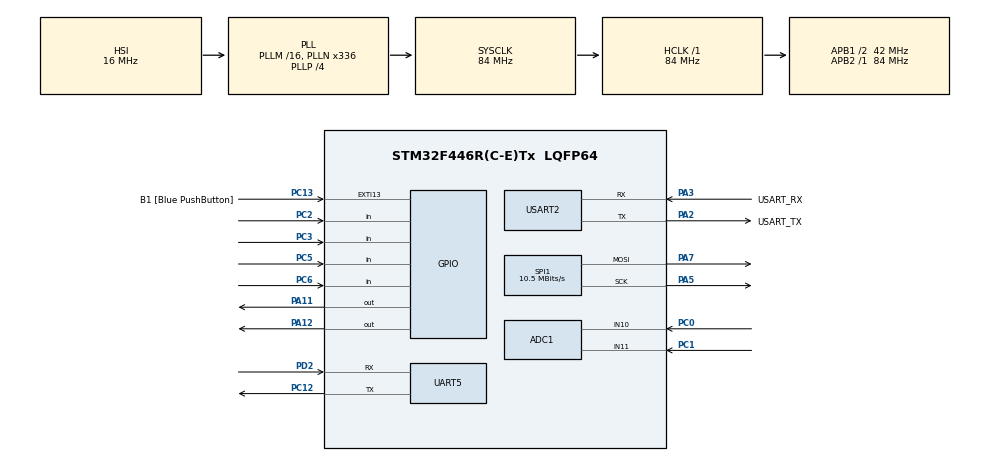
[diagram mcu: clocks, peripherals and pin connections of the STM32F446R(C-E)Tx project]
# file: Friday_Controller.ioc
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ADC1.Channel-0\#ChannelRegularConversion=ADC_CHANNEL_10
ADC1.NbrOfConversionFlag=1
ADC1.Rank-0\#ChannelRegularConversion=1
ADC1.SamplingTime-0\#ChannelRegularConversion=ADC_SAMPLETIME_3CYCLES
ADC1.ScanConvMode=ENABLE
ADC1.master=1
Mcu.Family=STM32F4
Mcu.Name=STM32F446R(C-E)Tx
Mcu.Package=LQFP64
NVIC.PriorityGroup=NVIC_PRIORITYGROUP_0
NVIC.RCC_IRQn=true\:0\:0\:false\:false\:true\:true\:false\:true
NVIC.UART5_IRQn=true\:0\:0\:false\:false\:true\:true\:true\:true
PA11.Signal=GPIO_Output
PA12.Signal=GPIO_Output
PA13.GPIO_Label=TMS
PA13.Mode=Serial_Wire
PA13.Signal=SYS_JTMS-SWDIO
PA14.GPIO_Label=TCK
PA14.Mode=Serial_Wire
PA14.Signal=SYS_JTCK-SWCLK
PA2.GPIO_Label=USART_TX
PA2.Mode=Asynchronous
PA2.Signal=USART2_TX
PA3.GPIO_Label=USART_RX
PA3.Mode=Asynchronous
PA3.Signal=USART2_RX
PA4.Signal=SPI1_NSS
PA5.Mode=TX_Only_Simplex_Unidirect_Master
PA5.Signal=SPI1_SCK
PA7.Mode=TX_Only_Simplex_Unidirect_Master
PA7.Signal=SPI1_MOSI
PB3.GPIO_Label=SWO
PB3.Signal=SYS_JTDO-SWO
PC0.Signal=ADCx_IN10
PC1.Signal=ADCx_IN11
PC12.Mode=Asynchronous
PC12.Signal=UART5_TX
PC13.GPIO_Label=B1 [Blue PushButton]
PC13.GPIO_ModeDefaultEXTI=GPIO_MODE_IT_FALLING
PC13.Signal=GPXTI13
PC14-OSC32_IN.Mode=LSE-External-Oscillator
PC14-OSC32_IN.Signal=RCC_OSC32_IN
PC15-OSC32_OUT.Mode=LSE-External-Oscillator
PC15-OSC32_OUT.Signal=RCC_OSC32_OUT
PC2.Signal=GPIO_Input
PC3.Signal=GPIO_Input
PC5.Signal=GPIO_Input
PC6.Signal=GPIO_Input
PD2.Mode=Asynchronous
PD2.Signal=UART5_RX
PH0-OSC_IN.Mode=HSE-External-Oscillator
PH0-OSC_IN.Signal=RCC_OSC_IN
PH1-OSC_OUT.Mode=HSE-External-Oscillator
PH1-OSC_OUT.Signal=RCC_OSC_OUT
ProjectManager.HeapSize=0x200
ProjectManager.StackSize=0x400
ProjectManager.TargetToolchain=STM32CubeIDE
RCC.48MHZClocksFreq_Value=84000000
RCC.AHBFreq_Value=84000000
RCC.APB1CLKDivider=RCC_HCLK_DIV2
RCC.APB1Freq_Value=42000000
RCC.APB1TimFreq_Value=84000000
RCC.APB2Freq_Value=84000000
RCC.APB2TimFreq_Value=84000000
RCC.CortexFreq_Value=84000000
RCC.FLatency-AdvancedSettings=FLASH_LATENCY_2
RCC.HCLKFreq_Value=84000000
RCC.HSE_VALUE=8000000
RCC.HSI_VALUE=16000000
RCC.PLLN=336
RCC.PLLP=RCC_PLLP_DIV4
RCC.SYSCLKFreq_VALUE=84000000
RCC.SYSCLKSource=RCC_SYSCLKSOURCE_PLLCLK
RCC.USBFreq_Value=168000000
RCC.VCOOutputFreq_Value=336000000
SH.ADCx_IN10.0=ADC1_IN10,IN10
SH.ADCx_IN11.0=ADC1_IN11,IN11
SPI1.BaudRatePrescaler=SPI_BAUDRATEPRESCALER_8
SPI1.CalculateBaudRate=10.5 MBits/s
SPI1.Direction=SPI_DIRECTION_2LINES
SPI1.Mode=SPI_MODE_MASTER
SPI1.VirtualType=VM_MASTER
UART5.VirtualMode=Asynchronous
USART2.VirtualMode=VM_ASYNC
VP_TIM2_VS_ClockSourceINT.Mode=Internal
board=NUCLEO-F446RE

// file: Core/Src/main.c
/* USER CODE BEGIN Header */
/**
  ******************************************************************************
  * @file           : main.c
  * @brief          : Main program body
  ******************************************************************************
  * @attention
  *
  * Copyright (c) 2026 STMicroelectronics.
  * All rights reserved.
  *
  * This software is licensed under terms that can be found in the LICENSE file
  * in the root directory of this software component.
  * If no LICENSE file comes with this software, it is provided AS-IS.
  *
  ******************************************************************************
  */
/* USER CODE END Header */
#include "main.h"

/* USER CODE BEGIN Includes */
#include <stdio.h>
#include <string.h>
#include <stdlib.h>

#include "ssd1306.h"
#include "ssd1306_fonts.h"
/* USER CODE END Includes */

/* USER CODE BEGIN PD */
#define SCREEN_WIDTH 128 // OLED display width, in pixels
#define SCREEN_HEIGHT 128 // OLED display height, in pixels
/* USER CODE END PD */

ADC_HandleTypeDef hadc1;

SPI_HandleTypeDef hspi1;

TIM_HandleTypeDef htim2;

UART_HandleTypeDef huart5;
UART_HandleTypeDef huart2;

void SystemClock_Config(void);
static void MX_GPIO_Init(void);
static void MX_ADC1_Init(void);
static void MX_SPI1_Init(void);
static void MX_UART5_Init(void);
static void MX_USART2_UART_Init(void);
static void MX_TIM2_Init(void);
/* USER CODE BEGIN PFP */
uint32_t Read_ADC_Channel(uint32_t channel);
void Send_Joystick(uint32_t x, uint32_t y, uint8_t button);

/* USER CODE END PFP */

/* USER CODE BEGIN 0 */
char Data[64];
uint8_t rxBuf[64];
uint8_t pkt[7];

uint32_t Read_ADC_Channel(uint32_t channel)
{
    ADC_ChannelConfTypeDef sConfig = {0};

    sConfig.Channel = channel;
    sConfig.Rank = 1;
    sConfig.SamplingTime = ADC_SAMPLETIME_3CYCLES;

    HAL_ADC_ConfigChannel(&hadc1, &sConfig);

    HAL_ADC_Start(&hadc1);
    HAL_ADC_PollForConversion(&hadc1, 10);

    uint32_t value = HAL_ADC_GetValue(&hadc1);

    HAL_ADC_Stop(&hadc1);

    return value;
}

void Send_Joystick(uint32_t x, uint32_t y, uint8_t button)
{

    pkt[0] = 0xAA;                   // start byte
    pkt[1] = (x >> 8) & 0x0F;        // X high nibble
    pkt[2] = x & 0xFF;               // X low byte
    pkt[3] = (y >> 8) & 0x0F;        // Y high nibble
    pkt[4] = y & 0xFF;               // Y low byte
    pkt[5] = button & 0x01;
	pkt[6] = pkt[1] ^ pkt[2] ^ pkt[3] ^ pkt[4] ^ pkt[5];  // checksum

    HAL_UART_Transmit(&huart5, pkt, 7, 100);  // UART5 → HC-05
}

//char Data[64];
//uint8_t rxBuf[64];
//
//void HAL_UARTEx_RxEventCallback (UART_HandleTypeDef *huart, uint16_t Size)
//{
//    if (huart->Instance==USART2)
//    {
//       HAL_UART_Transmit(&huart5, Data, Size, 1000);
//
//    }
//
//    if (huart->Instance==UART5)
//    {
//    	if (Size < 64)
//    	        rxBuf[Size] = '\0';
//
//    	        float distance = 0;
//
//    	        if (sscanf((char*)rxBuf, "Dist= %f cm", &distance) == 1)
//    	        {
//    	            char debug[50];
//    	            sprintf(debug, "Received: %.2f cm\r\n", distance);
//    	            HAL_UART_Transmit(&huart2, (uint8_t*)debug, strlen(debug), 100);
//    	        }
//
//    	        memset(rxBuf, 0, 64);
//
//    	        HAL_UARTEx_ReceiveToIdle_IT(&huart5, rxBuf, 64);
//    	    }
//    	}
//
//
//
//
//uint32_t Read_ADC_Channel(uint32_t channel)
//{
//    ADC_ChannelConfTypeDef sConfig = {0};
//
//    sConfig.Channel = channel;
//    sConfig.Rank = 1;
//    sConfig.SamplingTime = ADC_SAMPLETIME_3CYCLES;
//
//    HAL_ADC_ConfigChannel(&hadc1, &sConfig);
//
//    HAL_ADC_Start(&hadc1);
//    HAL_ADC_PollForConversion(&hadc1, 10);
//
//    uint32_t value = HAL_ADC_GetValue(&hadc1);
//
//    HAL_ADC_Stop(&hadc1);
//
//    return value;
//}
//uint8_t pkt[6];
//
//void Send_Joystick(uint32_t x, uint32_t y)
//{
//
//    pkt[0] = 0xAA;                   // start byte
//    pkt[1] = (x >> 8) & 0x0F;        // X high nibble
//    pkt[2] = x & 0xFF;               // X low byte
//    pkt[3] = (y >> 8) & 0x0F;        // Y high nibble
//    pkt[4] = y & 0xFF;               // Y low byte
//    pkt[5] = pkt[1] ^ pkt[2] ^ pkt[3] ^ pkt[4];  // checksum
//
//    HAL_UART_Transmit(&huart5, pkt, 6, 100);  // UART5 → HC-05
//}

/* USER CODE END 0 */

int main(void)
{

  /* USER CODE BEGIN 1 */
	uint32_t joyx;
	uint32_t joy_y;

	char msg[50];
	//char distance[50];

  /* USER CODE END 1 */

  /* MCU Configuration--------------------------------------------------------*/

  /* Reset of all peripherals, Initializes the Flash interface and the Systick. */
  HAL_Init();

  /* Configure the system clock */
  SystemClock_Config();

  /* Initialize all configured peripherals */
  MX_GPIO_Init();
  MX_ADC1_Init();
  MX_SPI1_Init();
  MX_UART5_Init();
  MX_USART2_UART_Init();
  MX_TIM2_Init();
  /* USER CODE BEGIN 2 */
  HAL_UARTEx_ReceiveToIdle_IT(&huart5, rxBuf, 64);
  ssd1306_Init();
//  ssd1306_SetRotation(1);
//  ssd1306_Fill(Black);
//  ssd1306_SetCursor(0, 0);

//    ssd1306_SetCursor(10, 30);
//    ssd1306_WriteString("11.11 cm", Font_11x18, White);
    //ssd1306_UpdateScreen(); // Critical: Sends the data to the display

  /* USER CODE END 2 */

  /* Infinite loop */
  while (1)
  {

    /* USER CODE BEGIN 3 */
	  joyx  = Read_ADC_Channel(ADC_CHANNEL_10);
	  joy_y = Read_ADC_Channel(ADC_CHANNEL_11);

	  uint8_t button = HAL_GPIO_ReadPin(GPIOC, GPIO_PIN_2) == GPIO_PIN_RESET ? 1 : 0;

	  Send_Joystick(joyx, joy_y, button);

	  // optional: still log to USART2 for debug
	  sprintf(msg, "X:%lu Y:%lu\r\n", joyx, joy_y);
	  HAL_UART_Transmit(&huart2, (uint8_t*)msg, strlen(msg), 100);

	  //sprintf(distance, "X:%lu Y:%lu\r\n", joyx, joy_y);
	  //HAL_UART_Transmit(&huart2, (uint8_t*)distance, strlen(distance), 100);
	  //ssd1306_SetCursor(0, 0);
	  //ssd1306_WriteString(Data, Font_11x18, White);
	     //ssd1306_UpdateScreen(); // Critical: Sends the data to the display
      HAL_Delay(20);  // ~50Hz update rate

  }
  /* USER CODE END 3 */
}

void SystemClock_Config(void)
{
  RCC_OscInitTypeDef RCC_OscInitStruct = {0};
  RCC_ClkInitTypeDef RCC_ClkInitStruct = {0};

  /** Configure the main internal regulator output voltage
  */
  __HAL_RCC_PWR_CLK_ENABLE();
  __HAL_PWR_VOLTAGESCALING_CONFIG(PWR_REGULATOR_VOLTAGE_SCALE3);

  /** Initializes the RCC Oscillators according to the specified parameters
  * in the RCC_OscInitTypeDef structure.
  */
  RCC_OscInitStruct.OscillatorType = RCC_OSCILLATORTYPE_HSI;
  RCC_OscInitStruct.HSIState = RCC_HSI_ON;
  RCC_OscInitStruct.HSICalibrationValue = RCC_HSICALIBRATION_DEFAULT;
  RCC_OscInitStruct.PLL.PLLState = RCC_PLL_ON;
  RCC_OscInitStruct.PLL.PLLSource = RCC_PLLSOURCE_HSI;
  RCC_OscInitStruct.PLL.PLLM = 16;
  RCC_OscInitStruct.PLL.PLLN = 336;
  RCC_OscInitStruct.PLL.PLLP = RCC_PLLP_DIV4;
  RCC_OscInitStruct.PLL.PLLQ = 2;
  RCC_OscInitStruct.PLL.PLLR = 2;
  if (HAL_RCC_OscConfig(&RCC_OscInitStruct) != HAL_OK)
  {
    Error_Handler();
  }

  /** Initializes the CPU, AHB and APB buses clocks
  */
  RCC_ClkInitStruct.ClockType = RCC_CLOCKTYPE_HCLK|RCC_CLOCKTYPE_SYSCLK
                              |RCC_CLOCKTYPE_PCLK1|RCC_CLOCKTYPE_PCLK2;
  RCC_ClkInitStruct.SYSCLKSource = RCC_SYSCLKSOURCE_PLLCLK;
  RCC_ClkInitStruct.AHBCLKDivider = RCC_SYSCLK_DIV1;
  RCC_ClkInitStruct.APB1CLKDivider = RCC_HCLK_DIV2;
  RCC_ClkInitStruct.APB2CLKDivider = RCC_HCLK_DIV1;

  if (HAL_RCC_ClockConfig(&RCC_ClkInitStruct, FLASH_LATENCY_2) != HAL_OK)
  {
    Error_Handler();
  }
}

static void MX_ADC1_Init(void)
{

  ADC_ChannelConfTypeDef sConfig = {0};

  /** Configure the global features of the ADC (Clock, Resolution, Data Alignment and number of conversion)
  */
  hadc1.Instance = ADC1;
  hadc1.Init.ClockPrescaler = ADC_CLOCK_SYNC_PCLK_DIV4;
  hadc1.Init.Resolution = ADC_RESOLUTION_12B;
  hadc1.Init.ScanConvMode = ENABLE;
  hadc1.Init.ContinuousConvMode = DISABLE;
  hadc1.Init.DiscontinuousConvMode = DISABLE;
  hadc1.Init.ExternalTrigConvEdge = ADC_EXTERNALTRIGCONVEDGE_NONE;
  hadc1.Init.ExternalTrigConv = ADC_SOFTWARE_START;
  hadc1.Init.DataAlign = ADC_DATAALIGN_RIGHT;
  hadc1.Init.NbrOfConversion = 1;
  hadc1.Init.DMAContinuousRequests = DISABLE;
  hadc1.Init.EOCSelection = ADC_EOC_SINGLE_CONV;
  if (HAL_ADC_Init(&hadc1) != HAL_OK)
  {
    Error_Handler();
  }

  /** Configure for the selected ADC regular channel its corresponding rank in the sequencer and its sample time.
  */
  sConfig.Channel = ADC_CHANNEL_10;
  sConfig.Rank = 1;
  sConfig.SamplingTime = ADC_SAMPLETIME_3CYCLES;
  if (HAL_ADC_ConfigChannel(&hadc1, &sConfig) != HAL_OK)
  {
    Error_Handler();
  }

}

static void MX_SPI1_Init(void)
{

  /* SPI1 parameter configuration*/
  hspi1.Instance = SPI1;
  hspi1.Init.Mode = SPI_MODE_MASTER;
  hspi1.Init.Direction = SPI_DIRECTION_2LINES;
  hspi1.Init.DataSize = SPI_DATASIZE_8BIT;
  hspi1.Init.CLKPolarity = SPI_POLARITY_LOW;
  hspi1.Init.CLKPhase = SPI_PHASE_1EDGE;
  hspi1.Init.NSS = SPI_NSS_SOFT;
  hspi1.Init.BaudRatePrescaler = SPI_BAUDRATEPRESCALER_8;
  hspi1.Init.FirstBit = SPI_FIRSTBIT_MSB;
  hspi1.Init.TIMode = SPI_TIMODE_DISABLE;
  hspi1.Init.CRCCalculation = SPI_CRCCALCULATION_DISABLE;
  hspi1.Init.CRCPolynomial = 10;
  if (HAL_SPI_Init(&hspi1) != HAL_OK)
  {
    Error_Handler();
  }

}

static void MX_TIM2_Init(void)
{

  TIM_ClockConfigTypeDef sClockSourceConfig = {0};
  TIM_MasterConfigTypeDef sMasterConfig = {0};

  htim2.Instance = TIM2;
  htim2.Init.Prescaler = 0;
  htim2.Init.CounterMode = TIM_COUNTERMODE_UP;
  htim2.Init.Period = 4294967295;
  htim2.Init.ClockDivision = TIM_CLOCKDIVISION_DIV1;
  htim2.Init.AutoReloadPreload = TIM_AUTORELOAD_PRELOAD_DISABLE;
  if (HAL_TIM_Base_Init(&htim2) != HAL_OK)
  {
    Error_Handler();
  }
  sClockSourceConfig.ClockSource = TIM_CLOCKSOURCE_INTERNAL;
  if (HAL_TIM_ConfigClockSource(&htim2, &sClockSourceConfig) != HAL_OK)
  {
    Error_Handler();
  }
  sMasterConfig.MasterOutputTrigger = TIM_TRGO_RESET;
  sMasterConfig.MasterSlaveMode = TIM_MASTERSLAVEMODE_DISABLE;
  if (HAL_TIMEx_MasterConfigSynchronization(&htim2, &sMasterConfig) != HAL_OK)
  {
    Error_Handler();
  }

}

static void MX_UART5_Init(void)
{

  huart5.Instance = UART5;
  huart5.Init.BaudRate = 115200;
  huart5.Init.WordLength = UART_WORDLENGTH_8B;
  huart5.Init.StopBits = UART_STOPBITS_1;
  huart5.Init.Parity = UART_PARITY_NONE;
  huart5.Init.Mode = UART_MODE_TX_RX;
  huart5.Init.HwFlowCtl = UART_HWCONTROL_NONE;
  huart5.Init.OverSampling = UART_OVERSAMPLING_16;
  if (HAL_UART_Init(&huart5) != HAL_OK)
  {
    Error_Handler();
  }

}

static void MX_USART2_UART_Init(void)
{

  huart2.Instance = USART2;
  huart2.Init.BaudRate = 115200;
  huart2.Init.WordLength = UART_WORDLENGTH_8B;
  huart2.Init.StopBits = UART_STOPBITS_1;
  huart2.Init.Parity = UART_PARITY_NONE;
  huart2.Init.Mode = UART_MODE_TX_RX;
  huart2.Init.HwFlowCtl = UART_HWCONTROL_NONE;
  huart2.Init.OverSampling = UART_OVERSAMPLING_16;
  if (HAL_UART_Init(&huart2) != HAL_OK)
  {
    Error_Handler();
  }

}

static void MX_GPIO_Init(void)
{
  GPIO_InitTypeDef GPIO_InitStruct = {0};

  /* GPIO Ports Clock Enable */
  __HAL_RCC_GPIOC_CLK_ENABLE();
  __HAL_RCC_GPIOH_CLK_ENABLE();
  __HAL_RCC_GPIOA_CLK_ENABLE();
  __HAL_RCC_GPIOD_CLK_ENABLE();
  __HAL_RCC_GPIOB_CLK_ENABLE();

  /*Configure GPIO pin Output Level */
  HAL_GPIO_WritePin(GPIOA, GPIO_PIN_11|GPIO_PIN_12, GPIO_PIN_RESET);

  /*Configure GPIO pin : B1_Pin */
  GPIO_InitStruct.Pin = B1_Pin;
  GPIO_InitStruct.Mode = GPIO_MODE_IT_FALLING;
  GPIO_InitStruct.Pull = GPIO_NOPULL;
  HAL_GPIO_Init(B1_GPIO_Port, &GPIO_InitStruct);

  /*Configure GPIO pins : PC2 PC3 PC5 PC6 */
  GPIO_InitStruct.Pin = GPIO_PIN_2|GPIO_PIN_3|GPIO_PIN_5|GPIO_PIN_6;
  GPIO_InitStruct.Mode = GPIO_MODE_INPUT;
  GPIO_InitStruct.Pull = GPIO_NOPULL;
  HAL_GPIO_Init(GPIOC, &GPIO_InitStruct);

  /*Configure GPIO pins : PA11 PA12 */
  GPIO_InitStruct.Pin = GPIO_PIN_11|GPIO_PIN_12;
  GPIO_InitStruct.Mode = GPIO_MODE_OUTPUT_PP;
  GPIO_InitStruct.Pull = GPIO_NOPULL;
  GPIO_InitStruct.Speed = GPIO_SPEED_FREQ_LOW;
  HAL_GPIO_Init(GPIOA, &GPIO_InitStruct);

}

/* USER CODE BEGIN 4 */

void HAL_UARTEx_RxEventCallback (UART_HandleTypeDef *huart, uint16_t Size)
{
    if (huart->Instance==USART2)
    {
       HAL_UART_Transmit(&huart5, Data, Size, 1000);

    }

    if (huart->Instance==UART5)
    {
    	if (Size < 64)
    	        rxBuf[Size] = '\0';

    	        float distance = 0;

    	        if (sscanf((char*)rxBuf, "Dist= %f cm", &distance) == 1)
    	        {
    	            char debug[50];
    	            sprintf(debug, "%.2f cm\r\n", distance);
    	            HAL_UART_Transmit(&huart2, (uint8_t*)debug, strlen(debug), 100);

    	            //char distStr[20];
    	            //sprintf(distStr, "%.2f cm", distance);
    	            ssd1306_SetRotation(1);
    	            ssd1306_Fill(Black);
    	            ssd1306_SetCursor(0, 0);
    	            ssd1306_WriteString(debug, Font_11x18, White);
    	            ssd1306_UpdateScreen(); // Critical: Sends the data to the display
    	        }

    	        memset(rxBuf, 0, 64);

    	        HAL_UARTEx_ReceiveToIdle_IT(&huart5, rxBuf, 64);
    	    }
    	}

/* USER CODE END 4 */

void Error_Handler(void)
{
  __disable_irq();
  while (1){}
}
